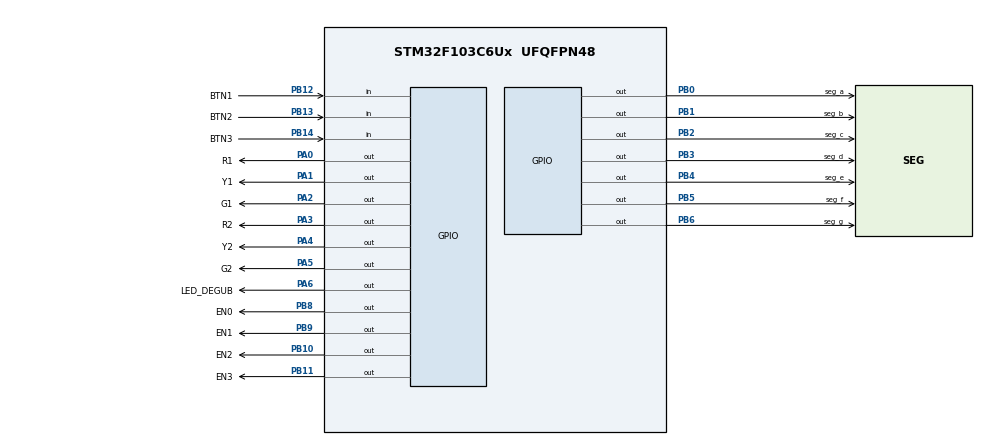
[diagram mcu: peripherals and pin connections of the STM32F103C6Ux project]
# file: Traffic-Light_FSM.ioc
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Mcu.Family=STM32F1
Mcu.Name=STM32F103C6Ux
Mcu.Package=UFQFPN48
NVIC.PriorityGroup=NVIC_PRIORITYGROUP_4
NVIC.TIM2_IRQn=true\:0\:0\:false\:false\:true\:true\:true
PA0-WKUP.GPIO_Label=R1
PA0-WKUP.Signal=GPIO_Output
PA1.GPIO_Label=Y1
PA1.Signal=GPIO_Output
PA2.GPIO_Label=G1
PA2.Signal=GPIO_Output
PA3.GPIO_Label=R2
PA3.Signal=GPIO_Output
PA4.GPIO_Label=Y2
PA4.Signal=GPIO_Output
PA5.GPIO_Label=G2
PA5.Signal=GPIO_Output
PA6.GPIO_Label=LED_DEGUB
PA6.Signal=GPIO_Output
PB0.GPIO_Label=seg_a
PB0.Signal=GPIO_Output
PB1.GPIO_Label=seg_b
PB1.Signal=GPIO_Output
PB10.GPIO_Label=EN2
PB10.Signal=GPIO_Output
PB11.GPIO_Label=EN3
PB11.Signal=GPIO_Output
PB12.GPIO_Label=BTN1
PB12.GPIO_PuPd=GPIO_PULLUP
PB12.Signal=GPIO_Input
PB13.GPIO_Label=BTN2
PB13.GPIO_PuPd=GPIO_PULLUP
PB13.Signal=GPIO_Input
PB14.GPIO_Label=BTN3
PB14.GPIO_PuPd=GPIO_PULLUP
PB14.Signal=GPIO_Input
PB2.GPIO_Label=seg_c
PB2.Signal=GPIO_Output
PB3.GPIO_Label=seg_d
PB3.Signal=GPIO_Output
PB4.GPIO_Label=seg_e
PB4.Signal=GPIO_Output
PB5.GPIO_Label=seg_f
PB5.Signal=GPIO_Output
PB6.GPIO_Label=seg_g
PB6.Signal=GPIO_Output
PB8.GPIO_Label=EN0
PB8.Signal=GPIO_Output
PB9.GPIO_Label=EN1
PB9.Signal=GPIO_Output
ProjectManager.HeapSize=0x200
ProjectManager.StackSize=0x400
ProjectManager.TargetToolchain=STM32CubeIDE
RCC.APB1Freq_Value=8000000
RCC.APB2Freq_Value=8000000
TIM2.Period=9
TIM2.Prescaler=7999
VP_SYS_VS_ND.Mode=No_Debug
VP_TIM2_VS_ClockSourceINT.Mode=Internal
board=custom

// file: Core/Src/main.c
/* USER CODE BEGIN Header */
/**
  ******************************************************************************
  * @file           : main.c
  * @brief          : Main program body
  ******************************************************************************
  * @attention
  *
  * <h2><center>&copy; Copyright (c) 2026 STMicroelectronics.
  * All rights reserved.</center></h2>
  *
  * This software component is licensed by ST under BSD 3-Clause license,
  * the "License"; You may not use this file except in compliance with the
  * License. You may obtain a copy of the License at:
  *                        opensource.org/licenses/BSD-3-Clause
  *
  ******************************************************************************
  */
/* USER CODE END Header */
#include "main.h"

/* USER CODE BEGIN Includes */
#include "global.h"
#include "software_timer.h"
#include "button.h"
#include "led7seg.h"
#include "traffic_light.h"
#include "fsm_automatic.h"
#include "fsm_manual.h"
/* USER CODE END Includes */

/* USER CODE BEGIN PD */
// Chu ky quet 1 LED 7 doan (ms). Proteus: 10ms la vua; phan cung that nen <= 5ms
#define SCAN_PERIOD	10
/* USER CODE END PD */

TIM_HandleTypeDef htim2;

void SystemClock_Config(void);
static void MX_GPIO_Init(void);
static void MX_TIM2_Init(void);

int main(void)
{

  /* MCU Configuration--------------------------------------------------------*/

  /* Reset of all peripherals, Initializes the Flash interface and the Systick. */
  HAL_Init();

  /* Configure the system clock */
  SystemClock_Config();

  /* Initialize all configured peripherals */
  MX_GPIO_Init();
  MX_TIM2_Init();
  /* USER CODE BEGIN 2 */
  traffic_all_off();
  HAL_TIM_Base_Start_IT(&htim2);		// TIM2: 7999/9 -> ngat moi 10ms (TIMER_CYCLE)
  setTimer(TIMER_SCAN, SCAN_PERIOD);
  status = INIT;
  /* USER CODE END 2 */

  /* Infinite loop */
  while (1)
  {

    /* USER CODE BEGIN 3 */
	  if (isTimerExpired(TIMER_SCAN)){
		  setTimer(TIMER_SCAN, SCAN_PERIOD);
		  led7seg_scan();
	  }
	  fsm_automatic_run();
	  fsm_manual_run();
  }
  /* USER CODE END 3 */
}

void SystemClock_Config(void)
{
  RCC_OscInitTypeDef RCC_OscInitStruct = {0};
  RCC_ClkInitTypeDef RCC_ClkInitStruct = {0};

  /** Initializes the RCC Oscillators according to the specified parameters
  * in the RCC_OscInitTypeDef structure.
  */
  RCC_OscInitStruct.OscillatorType = RCC_OSCILLATORTYPE_HSI;
  RCC_OscInitStruct.HSIState = RCC_HSI_ON;
  RCC_OscInitStruct.HSICalibrationValue = RCC_HSICALIBRATION_DEFAULT;
  RCC_OscInitStruct.PLL.PLLState = RCC_PLL_NONE;
  if (HAL_RCC_OscConfig(&RCC_OscInitStruct) != HAL_OK)
  {
    Error_Handler();
  }
  /** Initializes the CPU, AHB and APB buses clocks
  */
  RCC_ClkInitStruct.ClockType = RCC_CLOCKTYPE_HCLK|RCC_CLOCKTYPE_SYSCLK
                              |RCC_CLOCKTYPE_PCLK1|RCC_CLOCKTYPE_PCLK2;
  RCC_ClkInitStruct.SYSCLKSource = RCC_SYSCLKSOURCE_HSI;
  RCC_ClkInitStruct.AHBCLKDivider = RCC_SYSCLK_DIV1;
  RCC_ClkInitStruct.APB1CLKDivider = RCC_HCLK_DIV1;
  RCC_ClkInitStruct.APB2CLKDivider = RCC_HCLK_DIV1;

  if (HAL_RCC_ClockConfig(&RCC_ClkInitStruct, FLASH_LATENCY_0) != HAL_OK)
  {
    Error_Handler();
  }
}

static void MX_TIM2_Init(void)
{

  TIM_ClockConfigTypeDef sClockSourceConfig = {0};
  TIM_MasterConfigTypeDef sMasterConfig = {0};

  htim2.Instance = TIM2;
  htim2.Init.Prescaler = 7999;
  htim2.Init.CounterMode = TIM_COUNTERMODE_UP;
  htim2.Init.Period = 9;
  htim2.Init.ClockDivision = TIM_CLOCKDIVISION_DIV1;
  htim2.Init.AutoReloadPreload = TIM_AUTORELOAD_PRELOAD_DISABLE;
  if (HAL_TIM_Base_Init(&htim2) != HAL_OK)
  {
    Error_Handler();
  }
  sClockSourceConfig.ClockSource = TIM_CLOCKSOURCE_INTERNAL;
  if (HAL_TIM_ConfigClockSource(&htim2, &sClockSourceConfig) != HAL_OK)
  {
    Error_Handler();
  }
  sMasterConfig.MasterOutputTrigger = TIM_TRGO_RESET;
  sMasterConfig.MasterSlaveMode = TIM_MASTERSLAVEMODE_DISABLE;
  if (HAL_TIMEx_MasterConfigSynchronization(&htim2, &sMasterConfig) != HAL_OK)
  {
    Error_Handler();
  }

}

static void MX_GPIO_Init(void)
{
  GPIO_InitTypeDef GPIO_InitStruct = {0};

  /* GPIO Ports Clock Enable */
  __HAL_RCC_GPIOA_CLK_ENABLE();
  __HAL_RCC_GPIOB_CLK_ENABLE();

  /*Configure GPIO pin Output Level */
  HAL_GPIO_WritePin(GPIOA, R1_Pin|Y1_Pin|G1_Pin|R2_Pin
                          |Y2_Pin|G2_Pin|LED_DEGUB_Pin, GPIO_PIN_RESET);

  /*Configure GPIO pin Output Level */
  HAL_GPIO_WritePin(GPIOB, seg_a_Pin|seg_b_Pin|seg_c_Pin|EN2_Pin
                          |EN3_Pin|seg_d_Pin|seg_e_Pin|seg_f_Pin
                          |seg_g_Pin|EN0_Pin|EN1_Pin, GPIO_PIN_RESET);

  /*Configure GPIO pins : R1_Pin Y1_Pin G1_Pin R2_Pin
                           Y2_Pin G2_Pin LED_DEGUB_Pin */
  GPIO_InitStruct.Pin = R1_Pin|Y1_Pin|G1_Pin|R2_Pin
                          |Y2_Pin|G2_Pin|LED_DEGUB_Pin;
  GPIO_InitStruct.Mode = GPIO_MODE_OUTPUT_PP;
  GPIO_InitStruct.Pull = GPIO_NOPULL;
  GPIO_InitStruct.Speed = GPIO_SPEED_FREQ_LOW;
  HAL_GPIO_Init(GPIOA, &GPIO_InitStruct);

  /*Configure GPIO pins : seg_a_Pin seg_b_Pin seg_c_Pin EN2_Pin
                           EN3_Pin seg_d_Pin seg_e_Pin seg_f_Pin
                           seg_g_Pin EN0_Pin EN1_Pin */
  GPIO_InitStruct.Pin = seg_a_Pin|seg_b_Pin|seg_c_Pin|EN2_Pin
                          |EN3_Pin|seg_d_Pin|seg_e_Pin|seg_f_Pin
                          |seg_g_Pin|EN0_Pin|EN1_Pin;
  GPIO_InitStruct.Mode = GPIO_MODE_OUTPUT_PP;
  GPIO_InitStruct.Pull = GPIO_NOPULL;
  GPIO_InitStruct.Speed = GPIO_SPEED_FREQ_LOW;
  HAL_GPIO_Init(GPIOB, &GPIO_InitStruct);

  /*Configure GPIO pins : BTN1_Pin BTN2_Pin BTN3_Pin */
  GPIO_InitStruct.Pin = BTN1_Pin|BTN2_Pin|BTN3_Pin;
  GPIO_InitStruct.Mode = GPIO_MODE_INPUT;
  GPIO_InitStruct.Pull = GPIO_PULLUP;
  HAL_GPIO_Init(GPIOB, &GPIO_InitStruct);

}

/* USER CODE BEGIN 4 */
// ISR chi lam viec ngan: dem software timer va doc nut. Logic nam het o while(1)
void HAL_TIM_PeriodElapsedCallback(TIM_HandleTypeDef *htim){
	if (htim->Instance == TIM2){
		timerRun();
		getKeyInput();
	}
}
/* USER CODE END 4 */

void Error_Handler(void)
{
  __disable_irq();
  while (1)
  {
  }
}

/************************ (C) COPYRIGHT STMicroelectronics *****END OF FILE****/
